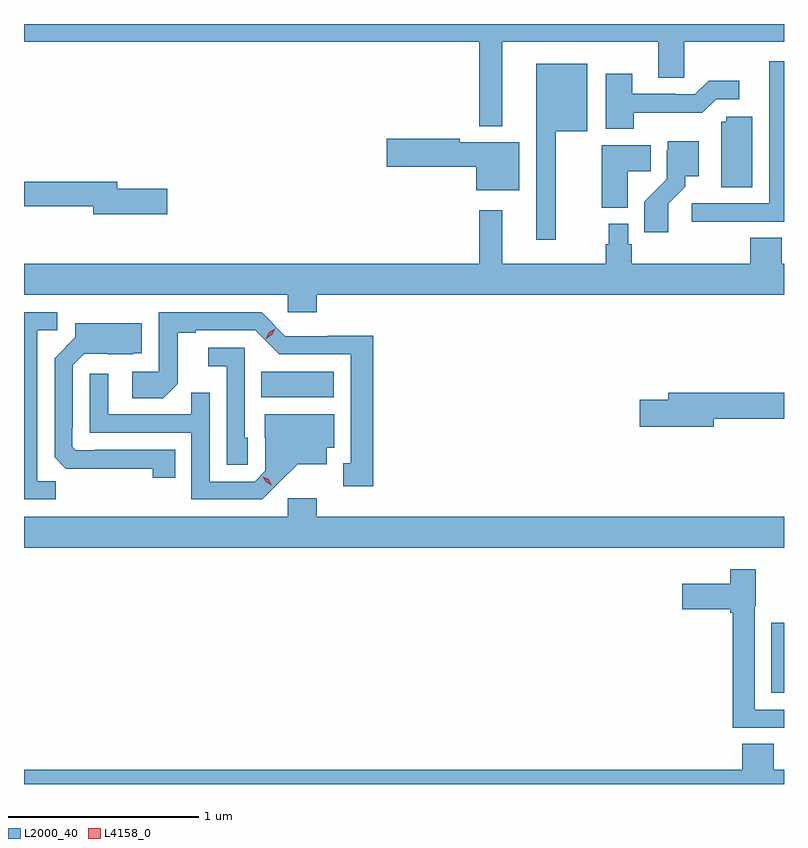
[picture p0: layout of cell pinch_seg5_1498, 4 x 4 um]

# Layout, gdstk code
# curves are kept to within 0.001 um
import gdstk
lib = gdstk.Library(unit=1e-6, precision=1e-09)
def R(c, l, rs):  # rectangles x0, y0, x1, y1
    for r in rs: c.add(gdstk.rectangle(r[:2], r[2:], *l))
def P(c, l, *ps):  # polygons
    for p in ps: c.add(gdstk.Polygon(p, *l))
L2000_40 = (2000, 40)
L4158_0 = (4158, 0)

pinch_seg5_1498 = lib.new_cell('pinch_seg5_1498')
R(pinch_seg5_1498, L2000_40, [(305.888,870.648,305.954,871.017), (303.202,872.204,303.583,872.338)])
P(pinch_seg5_1498, L2000_40, [(304.471,874.076),(305.291,874.076),(305.291,873.886),(305.43,873.886),(305.43,874.076),(305.954,874.076),(305.954,874.169),(301.954,874.169),(301.954,874.076),(304.35,874.076),(304.35,873.632),(304.471,873.632)],
  [(305.693,873.129),(305.954,873.129),(305.954,873.973),(305.876,873.973),(305.876,873.721),(305.877,873.721),(305.877,873.225),(305.469,873.225),(305.469,873.127),(305.693,873.127)],
  [(304.753,873.605),(304.918,873.605),(304.918,873.961),(304.649,873.961),(304.649,873.033),(304.753,873.033)],
  [(305.163,873.702),(305.525,873.702),(305.598,873.774),(305.719,873.774),(305.719,873.871),(305.557,873.871),(305.484,873.798),(305.384,873.798),(305.384,873.801),(305.155,873.801),(305.155,873.907),(305.015,873.907),(305.015,873.617),(305.163,873.617)],
  [(305.788,873.681),(305.649,873.681),(305.649,873.654),(305.624,873.654),(305.624,873.31),(305.788,873.31)],
  [(304.561,873.547),(304.248,873.547),(304.248,873.566),(303.864,873.566),(303.864,873.419),(304.334,873.419),(304.334,873.293),(304.561,873.293)],
  [(305.344,873.223),(305.434,873.313),(305.434,873.368),(305.506,873.368),(305.506,873.553),(305.342,873.553),(305.342,873.504),(305.337,873.504),(305.337,873.353),(305.218,873.234),(305.218,873.072),(305.344,873.072)],
  [(305.131,873.394),(305.252,873.394),(305.252,873.532),(304.994,873.532),(304.994,873.203),(305.131,873.203)],
  [(302.707,873.302),(302.446,873.302),(302.446,873.338),(301.954,873.338),(301.954,873.21),(302.318,873.21),(302.318,873.167),(302.707,873.167)],
  [(303.494,872.744),(305.954,872.744),(305.954,872.908),(305.942,872.908),(305.942,873.044),(305.777,873.044),(305.777,872.908),(305.153,872.908),(305.153,873.009),(305.133,873.009),(305.133,873.118),(305.032,873.118),(305.032,873.009),(305.017,873.009),(305.017,872.908),(304.471,872.908),(304.471,873.19),(304.35,873.19),(304.35,872.908),(301.954,872.908),(301.954,872.744),(303.342,872.744),(303.342,872.651),(303.494,872.651)],
  [(302.121,871.763),(302.025,871.763),(302.025,872.556),(302.128,872.556),(302.128,872.652),(301.954,872.652),(301.954,871.668),(302.121,871.668)],
  [(303.793,872.528),(303.552,872.528),(303.552,872.526),(303.33,872.526),(303.204,872.652),(302.664,872.652),(302.664,872.34),(302.523,872.34),(302.523,872.2),(302.687,872.2),(302.763,872.276),(302.763,872.544),(302.857,872.544),(302.857,872.556),(303.171,872.556),(303.297,872.43),(303.674,872.43),(303.674,871.857),(303.635,871.857),(303.635,871.737),(303.793,871.737)],
  [(302.75,871.929),(302.326,871.929),(302.326,871.926),(302.226,871.926),(302.208,871.944),(302.208,872.044),(302.211,872.044),(302.211,872.373),(302.271,872.433),(302.528,872.432),(302.531,872.435),(302.575,872.435),(302.575,872.593),(302.225,872.593),(302.225,872.52),(302.115,872.41),(302.115,871.888),(302.174,871.829),(302.632,871.828),(302.632,871.782),(302.75,871.782)],
  [(303.132,871.992),(303.117,871.992),(303.117,872.466),(302.925,872.466),(302.925,872.369),(303.021,872.369),(303.021,871.849),(303.132,871.849)],
  [(303.292,871.751),(303.395,871.853),(303.547,871.853),(303.547,871.94),(303.586,871.94),(303.586,872.116),(303.221,872.116),(303.221,871.992),(303.225,871.992),(303.225,871.818),(303.168,871.761),(302.931,871.761),(302.931,872.228),(302.833,872.228),(302.833,872.115),(302.397,872.115),(302.397,872.329),(302.301,872.329),(302.301,872.019),(302.835,872.019),(302.835,871.668),(303.208,871.668)],
  [(305.584,872.092),(305.954,872.092),(305.954,872.228),(305.345,872.228),(305.345,872.192),(305.196,872.192),(305.196,872.05),(305.584,872.05)],
  [(305.954,871.576),(303.494,871.576),(303.494,871.672),(303.342,871.672),(303.342,871.576),(301.954,871.576),(301.954,871.412),(305.954,871.412)],
  [(305.954,870.561),(305.799,870.561),(305.799,871.104),(305.806,871.104),(305.806,871.3),(305.67,871.3),(305.67,871.222),(305.418,871.222),(305.418,871.088),(305.67,871.088),(305.67,871.07),(305.683,871.07),(305.683,870.465),(305.954,870.465)],
  [(305.954,870.244),(305.9,870.244),(305.9,870.38),(305.735,870.38),(305.735,870.244),(301.954,870.244),(301.954,870.169),(305.954,870.169)])
P(pinch_seg5_1498, L4158_0, [(303.227,872.513),(303.227,872.513),(303.244,872.546),(303.276,872.566),(303.276,872.566),(303.276,872.565),(303.259,872.533),(303.228,872.513)],
  [(303.258,871.742),(303.228,871.757),(303.21,871.786),(303.21,871.787),(303.21,871.787),(303.241,871.772),(303.258,871.742),(303.258,871.742)])

lib.write_gds('pinch_seg5_1498.gds')
